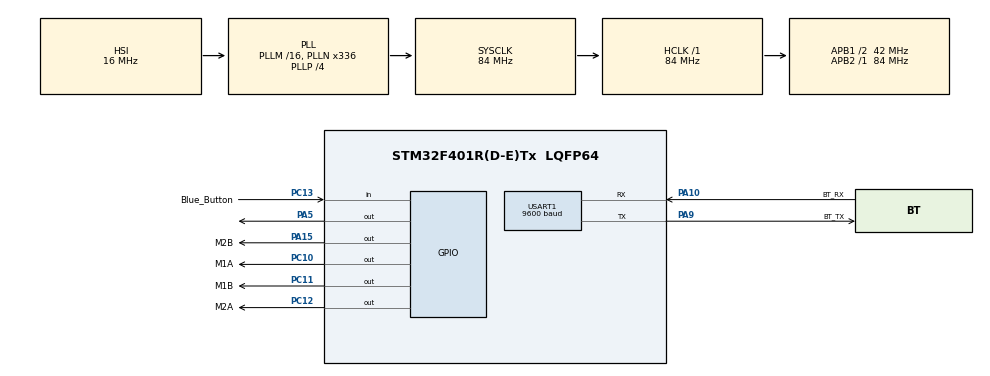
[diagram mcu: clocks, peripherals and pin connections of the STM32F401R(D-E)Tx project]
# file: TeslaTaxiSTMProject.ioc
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Mcu.Family=STM32F4
Mcu.Name=STM32F401R(D-E)Tx
Mcu.Package=LQFP64
NVIC.PriorityGroup=NVIC_PRIORITYGROUP_0
PA10.GPIO_Label=BT_RX
PA10.Mode=Asynchronous
PA10.Signal=USART1_RX
PA13.GPIO_Label=TMS
PA13.Mode=Serial_Wire
PA13.Signal=SYS_JTMS-SWDIO
PA14.GPIO_Label=TCK
PA14.Mode=Serial_Wire
PA14.Signal=SYS_JTCK-SWCLK
PA15.GPIO_Label=M2B
PA15.Signal=GPIO_Output
PA2.GPIO_Label=USART_TX
PA2.GPIO_Mode=GPIO_MODE_AF_PP
PA2.GPIO_PuPd=GPIO_NOPULL
PA2.GPIO_Speed=GPIO_SPEED_FREQ_LOW
PA2.Signal=USART2_TX
PA3.GPIO_Label=USART_RX
PA3.GPIO_Mode=GPIO_MODE_AF_PP
PA3.GPIO_PuPd=GPIO_NOPULL
PA3.GPIO_Speed=GPIO_SPEED_FREQ_LOW
PA3.Signal=USART2_RX
PA5.Signal=GPIO_Output
PA9.GPIO_Label=BT_TX
PA9.Mode=Asynchronous
PA9.Signal=USART1_TX
PB3.GPIO_Label=SWO
PB3.Signal=SYS_JTDO-SWO
PC10.GPIO_Label=M1A
PC10.PinState=GPIO_PIN_SET
PC10.Signal=GPIO_Output
PC11.GPIO_Label=M1B
PC11.Signal=GPIO_Output
PC12.GPIO_Label=M2A
PC12.Signal=GPIO_Output
PC13-ANTI_TAMP.GPIO_Label=Blue_Button
PC13-ANTI_TAMP.Signal=GPIO_Input
PC14-OSC32_IN.Mode=LSE-External-Oscillator
PC14-OSC32_IN.Signal=RCC_OSC32_IN
PC15-OSC32_OUT.Mode=LSE-External-Oscillator
PC15-OSC32_OUT.Signal=RCC_OSC32_OUT
PH0\ -\ OSC_IN.Mode=HSE-External-Clock-Source
PH0\ -\ OSC_IN.Signal=RCC_OSC_IN
PH1\ -\ OSC_OUT.Mode=HSE-External-Clock-Source
PH1\ -\ OSC_OUT.Signal=RCC_OSC_OUT
ProjectManager.HeapSize=0x200
ProjectManager.StackSize=0x400
ProjectManager.TargetToolchain=TrueSTUDIO
RCC.48MHZClocksFreq_Value=48000000
RCC.AHBFreq_Value=84000000
RCC.APB1CLKDivider=RCC_HCLK_DIV2
RCC.APB1Freq_Value=42000000
RCC.APB1TimFreq_Value=84000000
RCC.APB2Freq_Value=84000000
RCC.APB2TimFreq_Value=84000000
RCC.CortexFreq_Value=84000000
RCC.HCLKFreq_Value=84000000
RCC.HSE_VALUE=8000000
RCC.HSI_VALUE=16000000
RCC.PLLN=336
RCC.PLLP=RCC_PLLP_DIV4
RCC.PLLQ=7
RCC.SYSCLKFreq_VALUE=84000000
RCC.SYSCLKSource=RCC_SYSCLKSOURCE_PLLCLK
RCC.VCOOutputFreq_Value=336000000
USART1.BaudRate=9600
USART1.VirtualMode=VM_ASYNC
board=NUCLEO-F401RE

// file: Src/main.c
/* USER CODE BEGIN Header */
/**
  ******************************************************************************
  * @file           : main.c
  * @brief          : Main program body
  ******************************************************************************
  * @attention
  *
  * <h2><center>&copy; Copyright (c) 2019 STMicroelectronics.
  * All rights reserved.</center></h2>
  *
  * This software component is licensed by ST under BSD 3-Clause license,
  * the "License"; You may not use this file except in compliance with the
  * License. You may obtain a copy of the License at:
  *                        opensource.org/licenses/BSD-3-Clause
  *
  ******************************************************************************
  */
/* USER CODE END Header */

#include "main.h"

UART_HandleTypeDef huart1;

void SystemClock_Config(void);
static void MX_GPIO_Init(void);
static void MX_USART1_UART_Init(void);

/* USER CODE BEGIN 0 */

void drive_forward()
{
	  HAL_GPIO_WritePin(M1B_GPIO_Port, M1B_Pin, GPIO_PIN_SET);
	  HAL_GPIO_WritePin(M1A_GPIO_Port, M1A_Pin, GPIO_PIN_RESET);
	  HAL_Delay(500);
}

void drive_backward()
{
	  HAL_GPIO_WritePin(M1A_GPIO_Port, M1A_Pin, GPIO_PIN_SET);
	  HAL_GPIO_WritePin(M1B_GPIO_Port, M1B_Pin, GPIO_PIN_RESET);
	  HAL_Delay(500);
}

void turn_left()
{
	  HAL_GPIO_WritePin(M2B_GPIO_Port, M2B_Pin, GPIO_PIN_SET);
	  HAL_GPIO_WritePin(M2A_GPIO_Port, M2A_Pin, GPIO_PIN_RESET);
	  HAL_Delay(100);
}

void turn_right()
{
	  HAL_GPIO_WritePin(M2A_GPIO_Port, M2A_Pin, GPIO_PIN_SET);
	  HAL_GPIO_WritePin(M2B_GPIO_Port, M2B_Pin, GPIO_PIN_RESET);
	  HAL_Delay(100);
}

/* USER CODE END 0 */

int main(void)
{

  /* MCU Configuration--------------------------------------------------------*/

  /* Reset of all peripherals, Initializes the Flash interface and the Systick. */
  HAL_Init();

  /* Configure the system clock */
  SystemClock_Config();

  /* Initialize all configured peripherals */
  MX_GPIO_Init();
  MX_USART1_UART_Init();

  /* Infinite loop */
  /* USER CODE BEGIN WHILE */
  //HAL_GPIO_WritePin(Gaz_GPIO_Port, Gaz_Pin, GPIO_PIN_SET);

  while (1)
  {
	  HAL_GPIO_WritePin(M1A_GPIO_Port, M1A_Pin, GPIO_PIN_RESET);
	  HAL_GPIO_WritePin(M1B_GPIO_Port, M1B_Pin, GPIO_PIN_RESET);
	  HAL_GPIO_WritePin(M2A_GPIO_Port, M2A_Pin, GPIO_PIN_RESET);
	  HAL_GPIO_WritePin(M2B_GPIO_Port, M2B_Pin, GPIO_PIN_RESET);

	  if (__HAL_UART_GET_FLAG(&huart1, UART_FLAG_RXNE) == SET)
	  {
		  uint8_t value;
		  HAL_UART_Receive(&huart1, &value, 1, 100);
		  switch (value) {
		  case 'f': drive_forward(); break;
		  case 'b': drive_backward(); break;
		  case 'l': turn_left(); break;
		  case 'r': turn_right(); break;

		  }
	  }

	  if(HAL_GPIO_ReadPin(Blue_Button_GPIO_Port, Blue_Button_Pin) == GPIO_PIN_RESET){
		  HAL_GPIO_WritePin(GPIOA, GPIO_PIN_5, GPIO_PIN_SET);
		  drive_forward();
		  HAL_Delay(500);
	  }
//	  else {
//		  HAL_GPIO_WritePin(GPIOA, GPIO_PIN_5, GPIO_PIN_RESET);
//		  HAL_GPIO_WritePin(M1A_GPIO_Port, M1A_Pin, GPIO_PIN_RESET);
//		  HAL_GPIO_WritePin(M1A_GPIO_Port, M1B_Pin, GPIO_PIN_RESET);
//	  }

    /* USER CODE END WHILE */

  }
}

void SystemClock_Config(void)
{
  RCC_OscInitTypeDef RCC_OscInitStruct = {0};
  RCC_ClkInitTypeDef RCC_ClkInitStruct = {0};

  /** Configure the main internal regulator output voltage
  */
  __HAL_RCC_PWR_CLK_ENABLE();
  __HAL_PWR_VOLTAGESCALING_CONFIG(PWR_REGULATOR_VOLTAGE_SCALE2);
  /** Initializes the CPU, AHB and APB busses clocks
  */
  RCC_OscInitStruct.OscillatorType = RCC_OSCILLATORTYPE_HSI;
  RCC_OscInitStruct.HSIState = RCC_HSI_ON;
  RCC_OscInitStruct.HSICalibrationValue = RCC_HSICALIBRATION_DEFAULT;
  RCC_OscInitStruct.PLL.PLLState = RCC_PLL_ON;
  RCC_OscInitStruct.PLL.PLLSource = RCC_PLLSOURCE_HSI;
  RCC_OscInitStruct.PLL.PLLM = 16;
  RCC_OscInitStruct.PLL.PLLN = 336;
  RCC_OscInitStruct.PLL.PLLP = RCC_PLLP_DIV4;
  RCC_OscInitStruct.PLL.PLLQ = 7;
  if (HAL_RCC_OscConfig(&RCC_OscInitStruct) != HAL_OK)
  {
    Error_Handler();
  }
  /** Initializes the CPU, AHB and APB busses clocks
  */
  RCC_ClkInitStruct.ClockType = RCC_CLOCKTYPE_HCLK|RCC_CLOCKTYPE_SYSCLK
                              |RCC_CLOCKTYPE_PCLK1|RCC_CLOCKTYPE_PCLK2;
  RCC_ClkInitStruct.SYSCLKSource = RCC_SYSCLKSOURCE_PLLCLK;
  RCC_ClkInitStruct.AHBCLKDivider = RCC_SYSCLK_DIV1;
  RCC_ClkInitStruct.APB1CLKDivider = RCC_HCLK_DIV2;
  RCC_ClkInitStruct.APB2CLKDivider = RCC_HCLK_DIV1;

  if (HAL_RCC_ClockConfig(&RCC_ClkInitStruct, FLASH_LATENCY_2) != HAL_OK)
  {
    Error_Handler();
  }
}

static void MX_USART1_UART_Init(void)
{

  huart1.Instance = USART1;
  huart1.Init.BaudRate = 9600;
  huart1.Init.WordLength = UART_WORDLENGTH_8B;
  huart1.Init.StopBits = UART_STOPBITS_1;
  huart1.Init.Parity = UART_PARITY_NONE;
  huart1.Init.Mode = UART_MODE_TX_RX;
  huart1.Init.HwFlowCtl = UART_HWCONTROL_NONE;
  huart1.Init.OverSampling = UART_OVERSAMPLING_16;
  if (HAL_UART_Init(&huart1) != HAL_OK)
  {
    Error_Handler();
  }

}

static void MX_GPIO_Init(void)
{
  GPIO_InitTypeDef GPIO_InitStruct = {0};

  /* GPIO Ports Clock Enable */
  __HAL_RCC_GPIOC_CLK_ENABLE();
  __HAL_RCC_GPIOH_CLK_ENABLE();
  __HAL_RCC_GPIOA_CLK_ENABLE();
  __HAL_RCC_GPIOB_CLK_ENABLE();

  /*Configure GPIO pin Output Level */
  HAL_GPIO_WritePin(GPIOA, GPIO_PIN_5|M2B_Pin, GPIO_PIN_RESET);

  /*Configure GPIO pin Output Level */
  HAL_GPIO_WritePin(M1A_GPIO_Port, M1A_Pin, GPIO_PIN_SET);

  /*Configure GPIO pin Output Level */
  HAL_GPIO_WritePin(GPIOC, M1B_Pin|M2A_Pin, GPIO_PIN_RESET);

  /*Configure GPIO pin : Blue_Button_Pin */
  GPIO_InitStruct.Pin = Blue_Button_Pin;
  GPIO_InitStruct.Mode = GPIO_MODE_INPUT;
  GPIO_InitStruct.Pull = GPIO_NOPULL;
  HAL_GPIO_Init(Blue_Button_GPIO_Port, &GPIO_InitStruct);

  /*Configure GPIO pins : USART_TX_Pin USART_RX_Pin */
  GPIO_InitStruct.Pin = USART_TX_Pin|USART_RX_Pin;
  GPIO_InitStruct.Mode = GPIO_MODE_AF_PP;
  GPIO_InitStruct.Pull = GPIO_NOPULL;
  GPIO_InitStruct.Speed = GPIO_SPEED_FREQ_LOW;
  GPIO_InitStruct.Alternate = GPIO_AF7_USART2;
  HAL_GPIO_Init(GPIOA, &GPIO_InitStruct);

  /*Configure GPIO pins : PA5 M2B_Pin */
  GPIO_InitStruct.Pin = GPIO_PIN_5|M2B_Pin;
  GPIO_InitStruct.Mode = GPIO_MODE_OUTPUT_PP;
  GPIO_InitStruct.Pull = GPIO_NOPULL;
  GPIO_InitStruct.Speed = GPIO_SPEED_FREQ_LOW;
  HAL_GPIO_Init(GPIOA, &GPIO_InitStruct);

  /*Configure GPIO pins : M1A_Pin M1B_Pin M2A_Pin */
  GPIO_InitStruct.Pin = M1A_Pin|M1B_Pin|M2A_Pin;
  GPIO_InitStruct.Mode = GPIO_MODE_OUTPUT_PP;
  GPIO_InitStruct.Pull = GPIO_NOPULL;
  GPIO_InitStruct.Speed = GPIO_SPEED_FREQ_LOW;
  HAL_GPIO_Init(GPIOC, &GPIO_InitStruct);

}

void Error_Handler(void)
{
}

/************************ (C) COPYRIGHT STMicroelectronics *****END OF FILE****/
